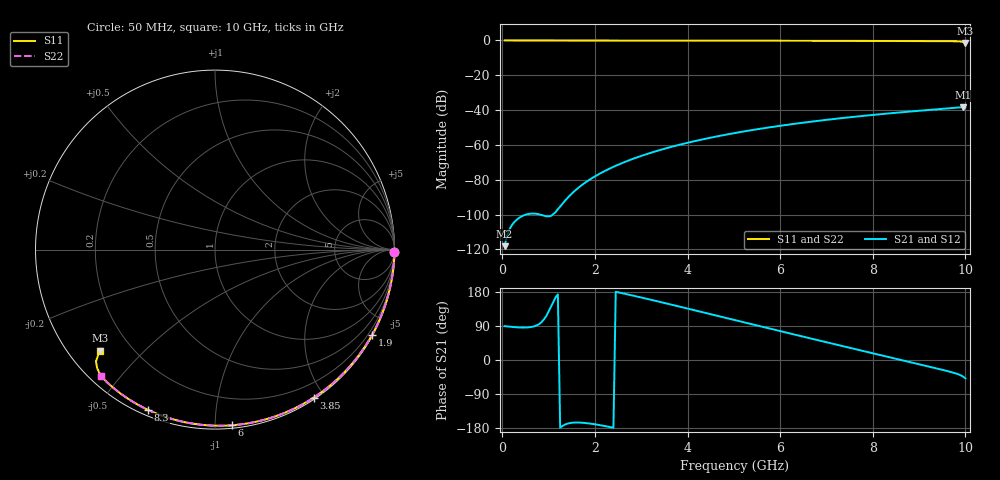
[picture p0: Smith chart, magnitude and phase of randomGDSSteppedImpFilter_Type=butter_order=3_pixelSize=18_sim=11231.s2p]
! freq	dB(S11)	phase(S11)	dB(S12)	phase(S12)
!  dB(S21)	phase(S21)	dB(S22)	phase(S22)
!S-par simulation data
#  GHz  S  DB  R 50
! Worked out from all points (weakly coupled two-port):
!   200 points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, 50 MHz to 10 GHz, reference 50 ohm
!   highest |S21| = -38.34 dB at 9.95 GHz (marker M1); lowest = -118.1 dB at 50 MHz (marker M2)
!   lowest |S11| = -1.4 dB at 10 GHz (marker M3), VSWR 12.67, Z = 4.5 - j18.7 ohm
!   |S11| at or under -10 dB: nowhere
!   |S22| runs from -0.4 to 0.0 dB; largest |S21 - S12| = 0
!   S11 on the Smith chart (normalised r, x): 50 MHz: open; 1.9 GHz: 0.03, -3.94; 3.85 GHz: 0.02, -1.87; 6 GHz: 0.02, -1.10; 8.3 GHz: 0.02, -0.67; 10 GHz: 0.09, -0.37
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0.05  -0.00 -0.8  -118.09 89.3  -118.09 89.3  -0.00 -0.8
0.9  -0.02 -13.6  -100.64 107.5  -100.64 107.5  -0.02 -13.7
1.75  -0.03 -26.3  -82.38 -165.8  -82.38 -165.8  -0.03 -26.3
1.85  -0.04 -27.7  -80.53 -167.0  -80.53 -167.0  -0.04 -27.8
1.9  -0.04 -28.5  -79.67 -167.8  -79.67 -167.8  -0.04 -28.5
2.2  -0.04 -32.8  -75.12 -173.9  -75.12 -173.9  -0.04 -32.9
2.55  -0.05 -37.9  -70.80 177.3  -70.80 177.3  -0.05 -38.0
2.95  -0.06 -43.6  -66.74 166.4  -66.74 166.4  -0.06 -43.8
3.4  -0.07 -50.0  -62.94 153.4  -62.94 153.4  -0.07 -50.1
3.85  -0.08 -56.2  -59.72 140.2  -59.72 140.2  -0.08 -56.4
4.4  -0.09 -63.7  -56.36 123.9  -56.36 123.9  -0.09 -63.9
5.05  -0.11 -72.4  -53.01 104.5  -53.01 104.5  -0.11 -72.5
6  -0.15 -84.6  -48.99 76.2  -48.99 76.2  -0.15 -84.8
6.7  -0.18 -93.3  -46.52 55.6  -46.52 55.6  -0.18 -93.5
7.5  -0.23 -103.0  -44.09 32.2  -44.09 32.2  -0.23 -103.2
8.3  -0.28 -112.6  -41.99 9.1  -41.99 9.1  -0.28 -112.6
8.35  -0.29 -113.2  -41.87 7.7  -41.87 7.7  -0.29 -113.2
9.55  -0.41 -128.0  -39.17 -27.3  -39.17 -27.3  -0.40 -126.9
9.8  -0.49 -132.2  -38.61 -35.7  -38.61 -35.7  -0.42 -129.8
9.9  -0.63 -134.9  -38.38 -40.4  -38.38 -40.4  -0.43 -130.9
9.95  -0.83 -136.8  -38.34 -43.7  -38.34 -43.7  -0.44 -131.5
10  -1.37 -138.8  -38.56 -48.4  -38.56 -48.4  -0.44 -132.0
